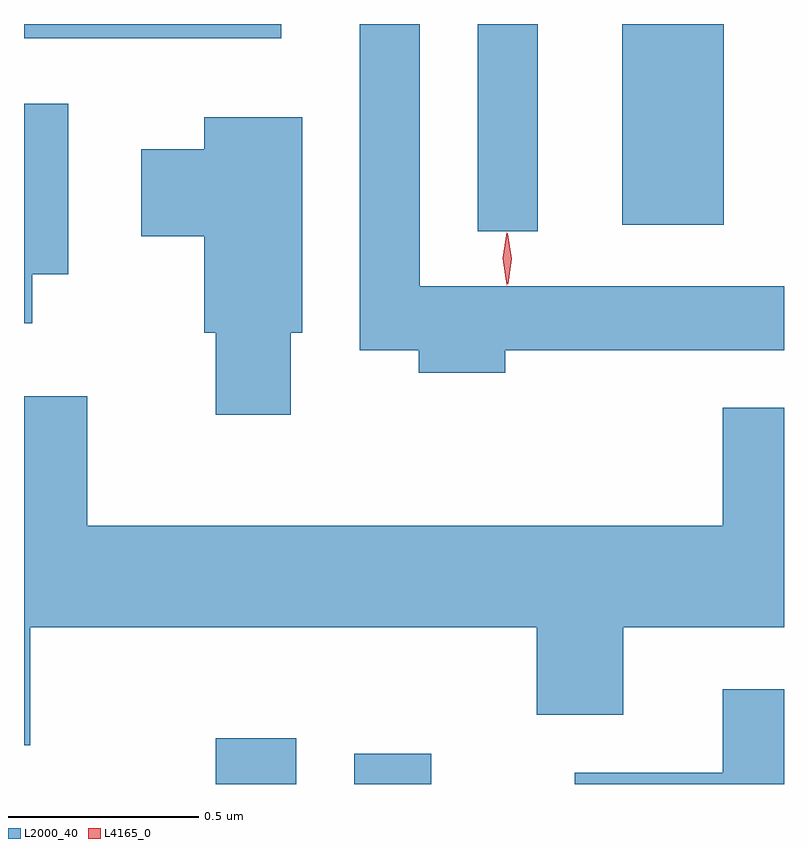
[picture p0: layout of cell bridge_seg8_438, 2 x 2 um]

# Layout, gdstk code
import gdstk
lib = gdstk.Library(unit=1e-6, precision=1e-09)
def R(c, l, rs):  # rectangles x0, y0, x1, y1
    for r in rs: c.add(gdstk.rectangle(r[:2], r[2:], *l))
def P(c, l, *ps):  # polygons
    for p in ps: c.add(gdstk.Polygon(p, *l))
L2000_40 = (2000, 40)
L4165_0 = (4165, 0)

bridge_seg8_438 = lib.new_cell('bridge_seg8_438')
R(bridge_seg8_438, L2000_40, [(879.816,1849.324,880.029,1849.444), (880.181,1849.324,880.384,1849.404), (880.506,1850.778,880.664,1851.324), (880.886,1850.796,881.154,1851.324), (879.312,1851.286,879.989,1851.324)])
P(bridge_seg8_438, L2000_40, [(880.579,1850.466),(881.312,1850.466),(881.312,1850.634),(880.354,1850.634),(880.354,1851.324),(880.196,1851.324),(880.196,1850.466),(880.351,1850.466),(880.351,1850.406),(880.579,1850.406)],
  [(879.334,1850.666),(879.429,1850.666),(879.429,1851.114),(879.312,1851.114),(879.312,1850.536),(879.334,1850.536)],
  [(880.014,1850.511),(880.044,1850.511),(880.044,1851.079),(879.786,1851.079),(879.786,1850.994),(879.621,1850.994),(879.621,1850.766),(879.786,1850.766),(879.786,1850.511),(879.816,1850.511),(879.816,1850.296),(880.014,1850.296)],
  [(879.329,1849.736),(880.661,1849.736),(880.661,1849.506),(880.889,1849.506),(880.889,1849.736),(881.312,1849.736),(881.312,1850.314),(881.151,1850.314),(881.151,1850.004),(879.479,1850.004),(879.479,1850.344),(879.312,1850.344),(879.312,1849.426),(879.329,1849.426)],
  [(881.312,1849.574),(881.151,1849.574),(881.151,1849.354),(880.761,1849.354),(880.761,1849.324),(881.312,1849.324)])
P(bridge_seg8_438, L4165_0, [(880.582,1850.637),(880.582,1850.637),(880.572,1850.707),(880.582,1850.776),(880.582,1850.776),(880.583,1850.776),(880.592,1850.707),(880.583,1850.637)],
  [(880.585,1850.639),(880.585,1850.64),(880.575,1850.706),(880.584,1850.772),(880.585,1850.773),(880.585,1850.772),(880.595,1850.706),(880.586,1850.64)])

lib.write_gds('bridge_seg8_438.gds')
